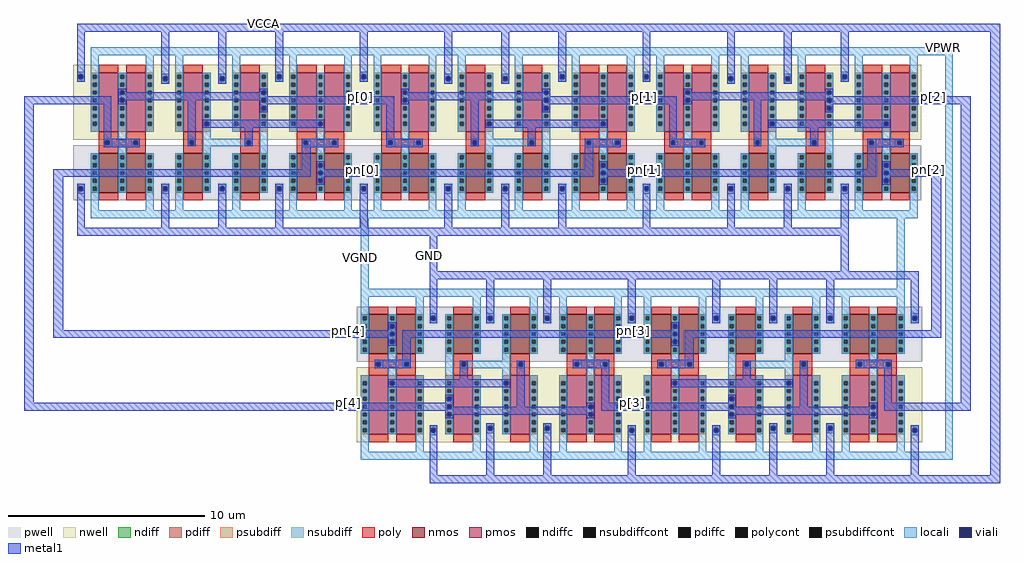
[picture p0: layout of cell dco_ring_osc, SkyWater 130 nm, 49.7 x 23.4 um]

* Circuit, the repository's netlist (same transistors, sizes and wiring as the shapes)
* NGSPICE file created from dco_ring_osc.ext - technology: sky130A

.subckt dco_aux_inv VPWR VCCA A Y GND VGND
X0 Y A VGND GND sky130_fd_pr__nfet_01v8 ad=0.8 pd=4.8 as=0.8 ps=4.8 w=2 l=1
X1 Y A VPWR VCCA sky130_fd_pr__pfet_01v8 ad=1.2 pd=6.8 as=1.2 ps=6.8 w=3 l=1
.ends

.subckt dco_main_inv VPWR VCCA Y GND VGND A
X0 Y A VGND GND sky130_fd_pr__nfet_01v8 ad=0.4 pd=2.4 as=0.8 ps=4.8 w=2 l=1 M=2
X1 VPWR A Y VCCA sky130_fd_pr__pfet_01v8 ad=1.2 pd=6.8 as=0.6 ps=3.4 w=3 l=1 M=2
.ends

.subckt dco_cc_inv outp inp inn outn VCCA VGND VPWR GND
Xdco_aux_inv_0 VPWR VCCA outp outn GND VGND dco_aux_inv
Xdco_aux_inv_1 VPWR VCCA outn outp GND VGND dco_aux_inv
Xdco_main_inv_0 VPWR VCCA outp GND VGND inp dco_main_inv
Xdco_main_inv_1 VPWR VCCA outn GND VGND inn dco_main_inv
.ends

.subckt dco_ring_osc VCCA GND VGND VPWR p[0] p[1] p[2] p[3] p[4] pn[0] pn[1] pn[2]
+ pn[3] pn[4]
Xdco_cc_inv_0 p[0] p[4] pn[4] pn[0] VCCA VGND VPWR GND dco_cc_inv
Xdco_cc_inv_1 p[1] p[0] pn[0] pn[1] VCCA VGND VPWR GND dco_cc_inv
Xdco_cc_inv_2 p[2] p[1] pn[1] pn[2] VCCA VGND VPWR GND dco_cc_inv
Xdco_cc_inv_3 p[4] p[3] pn[3] pn[4] VCCA VGND VPWR GND dco_cc_inv
Xdco_cc_inv_4 p[3] p[2] pn[2] pn[3] VCCA VGND VPWR GND dco_cc_inv
.ends

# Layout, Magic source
magic
tech sky130A
<< locali >>
rect 1360 920 1545 960
rect 2805 920 3095 960
rect 4210 920 4480 960
rect 1320 90 1585 130
rect 2810 90 3005 130
rect 1465 -330 1505 90
rect 2750 -310 2965 -270
rect 4195 -315 4235 115
rect 4440 -1100 4480 920
rect 2735 -1140 2965 -1100
rect 4175 -1140 4480 -1100
<< metal1 >>
rect 915 1040 1480 1080
rect 2345 1040 2935 1080
rect 3850 1040 4720 1080
rect -250 670 0 710
rect 1420 670 1530 710
rect 2860 670 2970 710
rect 4320 670 4570 710
rect -250 -850 -200 670
rect -100 300 0 340
rect 1420 300 1530 340
rect 2860 300 2970 340
rect 4315 300 4420 340
rect -100 -480 -50 300
rect 1025 0 1505 40
rect 1815 -235 1855 30
rect 2470 0 3005 40
rect 2815 -220 3390 -180
rect 3910 -220 3950 40
rect 4370 -480 4420 300
rect -100 -520 1445 -480
rect 2795 -520 2905 -480
rect 4320 -520 4420 -480
rect 4520 -850 4570 670
rect -250 -890 1445 -850
rect 2795 -890 2905 -850
rect 4315 -890 4570 -850
rect 4670 -1220 4720 1040
rect 2815 -1260 3310 -1220
rect 4250 -1260 4720 -1220
use dco_cc_inv  dco_cc_inv_0
transform 1 0 0 0 1 90
box 0 -90 1440 990
use dco_cc_inv  dco_cc_inv_1
transform 1 0 1440 0 1 90
box 0 -90 1440 990
use dco_cc_inv  dco_cc_inv_2
transform 1 0 2880 0 1 90
box 0 -90 1440 990
use dco_cc_inv  dco_cc_inv_3
transform -1 0 2885 0 -1 -270
box 0 -90 1440 990
use dco_cc_inv  dco_cc_inv_4
transform -1 0 4325 0 -1 -270
box 0 -90 1440 990
<< labels >>
rlabel metal1 970 1080 970 1080 1 VCCA
port 1 n
rlabel metal1 1815 -100 1815 -100 7 GND
port 2 w
rlabel locali 1465 -110 1465 -110 7 VGND
port 3 w
rlabel locali 4430 960 4430 960 1 VPWR
port 4 n
rlabel metal1 1465 710 1465 710 1 p[0]
port 5 n
rlabel metal1 2910 710 2910 710 1 p[1]
port 6 n
rlabel metal1 4380 710 4380 710 1 p[2]
port 7 n
rlabel metal1 2850 -850 2850 -850 1 p[3]
port 8 n
rlabel metal1 1400 -850 1400 -850 1 p[4]
port 9 n
rlabel metal1 1475 340 1475 340 1 pn[0]
port 10 n
rlabel metal1 2910 340 2910 340 1 pn[1]
port 11 n
rlabel metal1 4355 340 4355 340 1 pn[2]
port 12 n
rlabel metal1 2855 -480 2855 -480 1 pn[3]
port 13 n
rlabel metal1 1400 -480 1400 -480 1 pn[4]
port 14 n
<< end >>

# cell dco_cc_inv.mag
magic
tech sky130A
<< nwell >>
rect 960 630 980 650
rect 960 590 980 610
<< pwell >>
rect 1250 260 1270 280
rect 1250 220 1270 240
<< ndiffc >>
rect 1250 260 1270 280
rect 1250 220 1270 240
<< pdiffc >>
rect 960 630 980 650
rect 960 590 980 610
<< polycont >>
rect 595 375 615 395
rect 885 375 905 395
<< locali >>
rect 335 830 1155 870
rect 520 740 560 830
rect 810 740 850 830
rect 585 395 625 405
rect 585 375 595 395
rect 615 375 625 395
rect 585 365 625 375
rect 700 395 915 405
rect 700 375 885 395
rect 905 375 915 395
rect 700 365 915 375
rect 520 40 560 130
rect 810 40 850 130
rect 300 0 1110 40
<< viali >>
rect 240 630 260 650
rect 960 630 980 650
rect 240 590 260 610
rect 960 590 980 610
rect 960 550 980 570
rect 670 470 690 490
rect 1250 470 1270 490
rect 595 375 615 395
rect 885 375 905 395
rect 1250 260 1270 280
rect 1250 220 1270 240
rect 1250 180 1270 200
<< metal1 >>
rect 20 950 1070 990
rect 20 745 60 950
rect 450 735 490 950
rect 740 735 780 950
rect 1030 745 1070 950
rect 230 650 270 660
rect 230 630 240 650
rect 260 640 270 650
rect 950 650 990 660
rect 950 640 960 650
rect 260 630 960 640
rect 980 630 990 650
rect 230 620 990 630
rect 0 580 195 620
rect 230 610 1440 620
rect 230 590 240 610
rect 260 600 960 610
rect 260 590 270 600
rect 230 580 270 590
rect 155 405 195 580
rect 585 395 625 600
rect 950 590 960 600
rect 980 590 1440 610
rect 950 580 1440 590
rect 950 570 990 580
rect 950 550 960 570
rect 980 550 990 570
rect 950 540 990 550
rect 660 490 1280 500
rect 660 470 670 490
rect 690 470 1250 490
rect 1270 470 1280 490
rect 660 460 1280 470
rect 585 375 595 395
rect 615 375 625 395
rect 585 365 625 375
rect 875 395 915 460
rect 875 375 885 395
rect 905 375 915 395
rect 875 365 915 375
rect 1165 250 1210 360
rect 0 210 1210 250
rect 1240 280 1280 290
rect 1240 260 1250 280
rect 1270 260 1280 280
rect 1240 250 1280 260
rect 1240 240 1440 250
rect 1240 220 1250 240
rect 1270 220 1440 240
rect 1240 210 1440 220
rect 1240 200 1280 210
rect 1240 180 1250 200
rect 1270 180 1280 200
rect 1240 170 1280 180
rect 20 -50 60 125
rect 450 -50 490 125
rect 740 -50 780 125
rect 1030 -50 1070 125
rect 20 -90 1070 -50
use dco_aux_inv  dco_aux_inv_0
transform 1 0 560 0 1 440
box -130 -350 160 340
use dco_aux_inv  dco_aux_inv_1
transform 1 0 850 0 1 440
box -130 -350 160 340
use dco_main_inv  dco_main_inv_0
transform 1 0 130 0 1 440
box -130 -440 300 430
use dco_main_inv  dco_main_inv_1
transform 1 0 1140 0 1 440
box -130 -440 300 430
<< labels >>
rlabel metal1 30 990 30 990 1 VCCA
port 1 n
rlabel metal1 0 600 0 600 7 inp
port 4 w
rlabel metal1 0 230 0 230 7 inn
port 5 w
rlabel metal1 65 -90 65 -90 5 GND
port 7 s
rlabel locali 645 870 645 870 1 VPWR
port 2 n
rlabel locali 655 0 655 0 5 VGND
port 8 s
rlabel metal1 1440 600 1440 600 3 outp
port 3 e
rlabel metal1 1440 230 1440 230 3 outn
port 6 e
<< end >>

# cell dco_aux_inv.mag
magic
tech sky130A
<< nwell >>
rect -130 -40 160 340
<< pwell >>
rect -130 -350 160 -70
<< nmos >>
rect 0 -310 100 -110
<< pmos >>
rect 0 0 100 300
<< ndiff >>
rect -40 -120 0 -110
rect -40 -140 -30 -120
rect -10 -140 0 -120
rect -40 -160 0 -140
rect -40 -180 -30 -160
rect -10 -180 0 -160
rect -40 -200 0 -180
rect -40 -220 -30 -200
rect -10 -220 0 -200
rect -40 -240 0 -220
rect -40 -260 -30 -240
rect -10 -260 0 -240
rect -40 -280 0 -260
rect -40 -300 -30 -280
rect -10 -300 0 -280
rect -40 -310 0 -300
rect 100 -120 140 -110
rect 100 -140 110 -120
rect 130 -140 140 -120
rect 100 -160 140 -140
rect 100 -180 110 -160
rect 130 -180 140 -160
rect 100 -200 140 -180
rect 100 -220 110 -200
rect 130 -220 140 -200
rect 100 -240 140 -220
rect 100 -260 110 -240
rect 130 -260 140 -240
rect 100 -280 140 -260
rect 100 -300 110 -280
rect 130 -300 140 -280
rect 100 -310 140 -300
<< pdiff >>
rect -40 290 0 300
rect -40 270 -30 290
rect -10 270 0 290
rect -40 250 0 270
rect -40 230 -30 250
rect -10 230 0 250
rect -40 210 0 230
rect -40 190 -30 210
rect -10 190 0 210
rect -40 170 0 190
rect -40 150 -30 170
rect -10 150 0 170
rect -40 130 0 150
rect -40 110 -30 130
rect -10 110 0 130
rect -40 90 0 110
rect -40 70 -30 90
rect -10 70 0 90
rect -40 50 0 70
rect -40 30 -30 50
rect -10 30 0 50
rect -40 0 0 30
rect 100 290 140 300
rect 100 270 110 290
rect 130 270 140 290
rect 100 250 140 270
rect 100 230 110 250
rect 130 230 140 250
rect 100 210 140 230
rect 100 190 110 210
rect 130 190 140 210
rect 100 170 140 190
rect 100 150 110 170
rect 130 150 140 170
rect 100 130 140 150
rect 100 110 110 130
rect 130 110 140 130
rect 100 90 140 110
rect 100 70 110 90
rect 130 70 140 90
rect 100 50 140 70
rect 100 30 110 50
rect 130 30 140 50
rect 100 0 140 30
<< ndiffc >>
rect -30 -140 -10 -120
rect -30 -180 -10 -160
rect -30 -220 -10 -200
rect -30 -260 -10 -240
rect -30 -300 -10 -280
rect 110 -140 130 -120
rect 110 -180 130 -160
rect 110 -220 130 -200
rect 110 -260 130 -240
rect 110 -300 130 -280
<< pdiffc >>
rect -30 270 -10 290
rect -30 230 -10 250
rect -30 190 -10 210
rect -30 150 -10 170
rect -30 110 -10 130
rect -30 70 -10 90
rect -30 30 -10 50
rect 110 270 130 290
rect 110 230 130 250
rect 110 190 130 210
rect 110 150 130 170
rect 110 110 130 130
rect 110 70 130 90
rect 110 30 130 50
<< psubdiff >>
rect -110 -280 -70 -265
rect -110 -300 -100 -280
rect -80 -300 -70 -280
rect -110 -315 -70 -300
<< nsubdiff >>
rect -110 280 -70 295
rect -110 260 -100 280
rect -80 260 -70 280
rect -110 245 -70 260
<< psubdiffcont >>
rect -100 -300 -80 -280
<< nsubdiffcont >>
rect -100 260 -80 280
<< poly >>
rect 0 300 100 340
rect 0 -110 100 0
rect 0 -350 100 -310
<< locali >>
rect -110 280 -70 295
rect -110 260 -100 280
rect -80 260 -70 280
rect -110 245 -70 260
rect -40 290 0 300
rect -40 270 -30 290
rect -10 270 0 290
rect -40 250 0 270
rect -40 230 -30 250
rect -10 230 0 250
rect -40 210 0 230
rect -40 190 -30 210
rect -10 190 0 210
rect -40 170 0 190
rect -40 150 -30 170
rect -10 150 0 170
rect -40 130 0 150
rect -40 110 -30 130
rect -10 110 0 130
rect -40 90 0 110
rect -40 70 -30 90
rect -10 70 0 90
rect -40 50 0 70
rect -40 30 -30 50
rect -10 30 0 50
rect -40 0 0 30
rect 100 290 140 300
rect 100 270 110 290
rect 130 270 140 290
rect 100 250 140 270
rect 100 230 110 250
rect 130 230 140 250
rect 100 210 140 230
rect 100 190 110 210
rect 130 190 140 210
rect 100 170 140 190
rect 100 150 110 170
rect 130 150 140 170
rect 100 130 140 150
rect 100 110 110 130
rect 130 110 140 130
rect 100 90 140 110
rect 100 70 110 90
rect 130 70 140 90
rect 100 50 140 70
rect 100 30 110 50
rect 130 30 140 50
rect -40 -120 0 -110
rect -40 -140 -30 -120
rect -10 -140 0 -120
rect -40 -160 0 -140
rect -40 -180 -30 -160
rect -10 -180 0 -160
rect -40 -200 0 -180
rect -40 -220 -30 -200
rect -10 -220 0 -200
rect -40 -240 0 -220
rect -40 -260 -30 -240
rect -10 -260 0 -240
rect -110 -280 -70 -265
rect -110 -300 -100 -280
rect -80 -300 -70 -280
rect -110 -315 -70 -300
rect -40 -280 0 -260
rect -40 -300 -30 -280
rect -10 -300 0 -280
rect -40 -310 0 -300
rect 100 -120 140 30
rect 100 -140 110 -120
rect 130 -140 140 -120
rect 100 -160 140 -140
rect 100 -180 110 -160
rect 130 -180 140 -160
rect 100 -200 140 -180
rect 100 -220 110 -200
rect 130 -220 140 -200
rect 100 -240 140 -220
rect 100 -260 110 -240
rect 130 -260 140 -240
rect 100 -280 140 -260
rect 100 -300 110 -280
rect 130 -300 140 -280
rect 100 -310 140 -300
<< viali >>
rect -100 260 -80 280
rect -100 -300 -80 -280
<< metal1 >>
rect -110 280 -70 295
rect -110 260 -100 280
rect -80 260 -70 280
rect -110 245 -70 260
rect -110 -280 -70 -265
rect -110 -300 -100 -280
rect -80 -300 -70 -280
rect -110 -315 -70 -300
<< labels >>
rlabel locali -20 300 -20 300 1 VPWR
port 1 n
rlabel metal1 -90 295 -90 295 1 VCCA
port 2 n
rlabel poly 0 -55 0 -55 7 A
port 3 w
rlabel locali 140 -55 140 -55 3 Y
port 4 e
rlabel metal1 -90 -265 -90 -265 1 GND
port 5 n
rlabel locali -20 -310 -20 -310 5 VGND
port 6 s
<< end >>

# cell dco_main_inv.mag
magic
tech sky130A
<< nwell >>
rect -130 -40 300 340
<< pwell >>
rect -130 -350 300 -70
<< nmos >>
rect 0 -310 100 -110
rect 140 -310 240 -110
<< pmos >>
rect 0 0 100 300
rect 140 0 240 300
<< ndiff >>
rect -40 -120 0 -110
rect -40 -140 -30 -120
rect -10 -140 0 -120
rect -40 -160 0 -140
rect -40 -180 -30 -160
rect -10 -180 0 -160
rect -40 -200 0 -180
rect -40 -220 -30 -200
rect -10 -220 0 -200
rect -40 -240 0 -220
rect -40 -260 -30 -240
rect -10 -260 0 -240
rect -40 -280 0 -260
rect -40 -300 -30 -280
rect -10 -300 0 -280
rect -40 -310 0 -300
rect 100 -120 140 -110
rect 100 -140 110 -120
rect 130 -140 140 -120
rect 100 -160 140 -140
rect 100 -180 110 -160
rect 130 -180 140 -160
rect 100 -200 140 -180
rect 100 -220 110 -200
rect 130 -220 140 -200
rect 100 -240 140 -220
rect 100 -260 110 -240
rect 130 -260 140 -240
rect 100 -280 140 -260
rect 100 -300 110 -280
rect 130 -300 140 -280
rect 100 -310 140 -300
rect 240 -120 280 -110
rect 240 -140 250 -120
rect 270 -140 280 -120
rect 240 -160 280 -140
rect 240 -180 250 -160
rect 270 -180 280 -160
rect 240 -200 280 -180
rect 240 -220 250 -200
rect 270 -220 280 -200
rect 240 -240 280 -220
rect 240 -260 250 -240
rect 270 -260 280 -240
rect 240 -280 280 -260
rect 240 -300 250 -280
rect 270 -300 280 -280
rect 240 -310 280 -300
<< pdiff >>
rect -40 290 0 300
rect -40 270 -30 290
rect -10 270 0 290
rect -40 250 0 270
rect -40 230 -30 250
rect -10 230 0 250
rect -40 210 0 230
rect -40 190 -30 210
rect -10 190 0 210
rect -40 170 0 190
rect -40 150 -30 170
rect -10 150 0 170
rect -40 130 0 150
rect -40 110 -30 130
rect -10 110 0 130
rect -40 90 0 110
rect -40 70 -30 90
rect -10 70 0 90
rect -40 50 0 70
rect -40 30 -30 50
rect -10 30 0 50
rect -40 0 0 30
rect 100 290 140 300
rect 100 270 110 290
rect 130 270 140 290
rect 100 250 140 270
rect 100 230 110 250
rect 130 230 140 250
rect 100 210 140 230
rect 100 190 110 210
rect 130 190 140 210
rect 100 170 140 190
rect 100 150 110 170
rect 130 150 140 170
rect 100 130 140 150
rect 100 110 110 130
rect 130 110 140 130
rect 100 90 140 110
rect 100 70 110 90
rect 130 70 140 90
rect 100 50 140 70
rect 100 30 110 50
rect 130 30 140 50
rect 100 0 140 30
rect 240 290 280 300
rect 240 270 250 290
rect 270 270 280 290
rect 240 250 280 270
rect 240 230 250 250
rect 270 230 280 250
rect 240 210 280 230
rect 240 190 250 210
rect 270 190 280 210
rect 240 170 280 190
rect 240 150 250 170
rect 270 150 280 170
rect 240 130 280 150
rect 240 110 250 130
rect 270 110 280 130
rect 240 90 280 110
rect 240 70 250 90
rect 270 70 280 90
rect 240 50 280 70
rect 240 30 250 50
rect 270 30 280 50
rect 240 0 280 30
<< ndiffc >>
rect -30 -140 -10 -120
rect -30 -180 -10 -160
rect -30 -220 -10 -200
rect -30 -260 -10 -240
rect -30 -300 -10 -280
rect 110 -140 130 -120
rect 110 -180 130 -160
rect 110 -220 130 -200
rect 110 -260 130 -240
rect 110 -300 130 -280
rect 250 -140 270 -120
rect 250 -180 270 -160
rect 250 -220 270 -200
rect 250 -260 270 -240
rect 250 -300 270 -280
<< pdiffc >>
rect -30 270 -10 290
rect -30 230 -10 250
rect -30 190 -10 210
rect -30 150 -10 170
rect -30 110 -10 130
rect -30 70 -10 90
rect -30 30 -10 50
rect 110 270 130 290
rect 110 230 130 250
rect 110 190 130 210
rect 110 150 130 170
rect 110 110 130 130
rect 110 70 130 90
rect 110 30 130 50
rect 250 270 270 290
rect 250 230 270 250
rect 250 190 270 210
rect 250 150 270 170
rect 250 110 270 130
rect 250 70 270 90
rect 250 30 270 50
<< psubdiff >>
rect -110 -280 -70 -265
rect -110 -300 -100 -280
rect -80 -300 -70 -280
rect -110 -315 -70 -300
<< nsubdiff >>
rect -110 290 -70 305
rect -110 270 -100 290
rect -80 270 -70 290
rect -110 255 -70 270
<< psubdiffcont >>
rect -100 -300 -80 -280
<< nsubdiffcont >>
rect -100 270 -80 290
<< poly >>
rect 0 300 100 340
rect 140 300 240 340
rect 0 -40 100 0
rect 140 -40 240 0
rect 0 -45 240 -40
rect 0 -65 35 -45
rect 55 -65 180 -45
rect 200 -65 240 -45
rect 0 -70 240 -65
rect 0 -110 100 -70
rect 140 -110 240 -70
rect 0 -350 100 -310
rect 140 -350 240 -310
<< polycont >>
rect 35 -65 55 -45
rect 180 -65 200 -45
<< locali >>
rect -40 390 280 430
rect -110 290 -70 305
rect -110 270 -100 290
rect -80 270 -70 290
rect -110 255 -70 270
rect -40 290 0 390
rect -40 270 -30 290
rect -10 270 0 290
rect -40 250 0 270
rect -40 230 -30 250
rect -10 230 0 250
rect -40 210 0 230
rect -40 190 -30 210
rect -10 190 0 210
rect -40 170 0 190
rect -40 150 -30 170
rect -10 150 0 170
rect -40 130 0 150
rect -40 110 -30 130
rect -10 110 0 130
rect -40 90 0 110
rect -40 70 -30 90
rect -10 70 0 90
rect -40 50 0 70
rect -40 30 -30 50
rect -10 30 0 50
rect -40 0 0 30
rect 100 290 140 300
rect 100 270 110 290
rect 130 270 140 290
rect 100 250 140 270
rect 100 230 110 250
rect 130 230 140 250
rect 100 210 140 230
rect 100 190 110 210
rect 130 190 140 210
rect 100 170 140 190
rect 100 150 110 170
rect 130 150 140 170
rect 100 130 140 150
rect 100 110 110 130
rect 130 110 140 130
rect 100 90 140 110
rect 100 70 110 90
rect 130 70 140 90
rect 100 50 140 70
rect 100 30 110 50
rect 130 30 140 50
rect 25 -45 70 -35
rect 25 -65 35 -45
rect 55 -65 70 -45
rect 25 -80 70 -65
rect -40 -120 0 -110
rect -40 -140 -30 -120
rect -10 -140 0 -120
rect -40 -160 0 -140
rect -40 -180 -30 -160
rect -10 -180 0 -160
rect -40 -200 0 -180
rect -40 -220 -30 -200
rect -10 -220 0 -200
rect -40 -240 0 -220
rect -40 -260 -30 -240
rect -10 -260 0 -240
rect -110 -280 -70 -265
rect -110 -300 -100 -280
rect -80 -300 -70 -280
rect -110 -315 -70 -300
rect -40 -280 0 -260
rect -40 -300 -30 -280
rect -10 -300 0 -280
rect -40 -400 0 -300
rect 100 -120 140 30
rect 240 290 280 390
rect 240 270 250 290
rect 270 270 280 290
rect 240 250 280 270
rect 240 230 250 250
rect 270 230 280 250
rect 240 210 280 230
rect 240 190 250 210
rect 270 190 280 210
rect 240 170 280 190
rect 240 150 250 170
rect 270 150 280 170
rect 240 130 280 150
rect 240 110 250 130
rect 270 110 280 130
rect 240 90 280 110
rect 240 70 250 90
rect 270 70 280 90
rect 240 50 280 70
rect 240 30 250 50
rect 270 30 280 50
rect 240 0 280 30
rect 165 -45 210 -35
rect 165 -65 180 -45
rect 200 -65 210 -45
rect 165 -80 210 -65
rect 100 -140 110 -120
rect 130 -140 140 -120
rect 100 -160 140 -140
rect 100 -180 110 -160
rect 130 -180 140 -160
rect 100 -200 140 -180
rect 100 -220 110 -200
rect 130 -220 140 -200
rect 100 -240 140 -220
rect 100 -260 110 -240
rect 130 -260 140 -240
rect 100 -280 140 -260
rect 100 -300 110 -280
rect 130 -300 140 -280
rect 100 -310 140 -300
rect 240 -120 280 -110
rect 240 -140 250 -120
rect 270 -140 280 -120
rect 240 -160 280 -140
rect 240 -180 250 -160
rect 270 -180 280 -160
rect 240 -200 280 -180
rect 240 -220 250 -200
rect 270 -220 280 -200
rect 240 -240 280 -220
rect 240 -260 250 -240
rect 270 -260 280 -240
rect 240 -280 280 -260
rect 240 -300 250 -280
rect 270 -300 280 -280
rect 240 -400 280 -300
rect -40 -440 280 -400
<< viali >>
rect -100 270 -80 290
rect 35 -65 55 -45
rect -100 -300 -80 -280
rect 180 -65 200 -45
<< metal1 >>
rect -110 290 -70 305
rect -110 270 -100 290
rect -80 270 -70 290
rect -110 255 -70 270
rect 25 -45 210 -35
rect 25 -65 35 -45
rect 55 -65 180 -45
rect 200 -65 210 -45
rect 25 -80 210 -65
rect -110 -280 -70 -265
rect -110 -300 -100 -280
rect -80 -300 -70 -280
rect -110 -315 -70 -300
<< labels >>
rlabel locali 120 430 120 430 1 VPWR
port 1 n
rlabel metal1 -90 305 -90 305 1 VCCA
port 2 n
rlabel locali 120 300 120 300 1 Y
port 3 n
rlabel metal1 -90 -265 -90 -265 1 GND
port 4 n
rlabel locali 120 -400 120 -400 1 VGND
port 5 n
rlabel metal1 25 -55 25 -55 7 A
port 6 w
<< end >>
